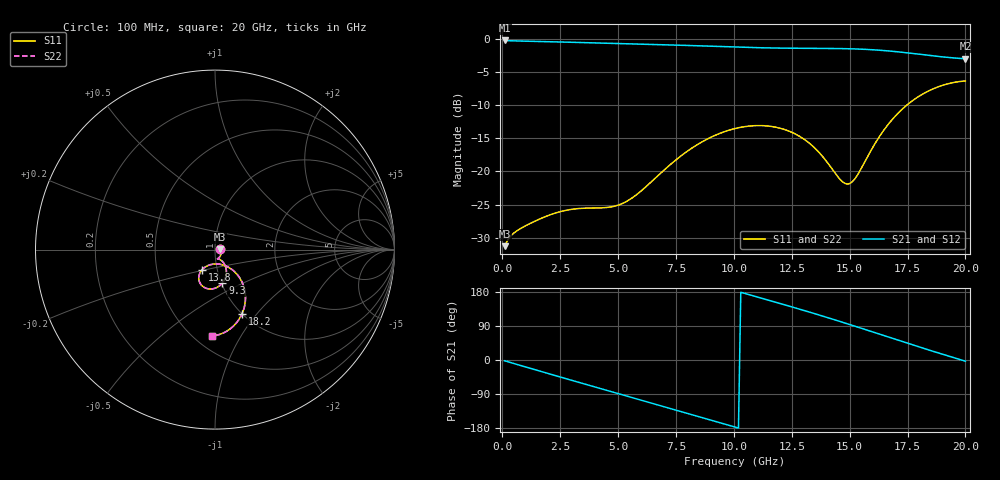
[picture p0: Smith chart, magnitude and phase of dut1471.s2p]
! Touchstone file exported from HFSS 2026.1.0
!  File:  C:/ffzhzh/LocalFiles/Ansys_Project_Files/temp_train_TSV_RDL_1471_1783361782_37376.aedt
!  Generated:  02:29:44 AM Jul  7, 2026
!  Design:  TSV_RDL
!  Project:  temp_train_TSV_RDL_1471_1783361782_37376
! Variables:
!  h_bsmrdl = 3.05um
!  h_ox = 20um
!  h_rdl = 5um
!  h_sub = 72.59um
!  h_tmrdl = 5.77um
!  h_tsv = 72.59um
!  h_via = 3um
!  l_bsmrdl = 633.36um
!  l_sub = 4868.94um
!  l_tmrdl = 612.65um
!  m_sub = 200um
!  pitch = 27.88um
!  r_tsv = 4.13um
!  s_tmrdl = 10um
!  w_bsmrdl = 12.87um
!  w_sub = 500um
!  w_tmrdl = 26.55um
!  x_tsv_center1 = 625.925um
!  x_tsv_center2 = 1272.155um
!  x_tsv_center3 = 1911.355um
!  x_tsv_center4 = 2557.585um
!  x_tsv_center5 = 3196.785um
!  x_tsv_center6 = 3843.015um
# GHz S MA R 50.000000
! Terminal data exported
! Port[1] = TM_RDL1_1_T1
! Port[2] = TM_RDL5_1_T1
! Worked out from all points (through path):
!   200 points, 100 MHz to 20 GHz, reference 50 ohm
!   highest |S21| = -0.24 dB at 100 MHz (marker M1); lowest = -3.0 dB at 20 GHz (marker M2)
!   group delay of S21, straight-line fit = 50 ps
!   lowest |S11| = -31.3 dB at 100 MHz (marker M3), VSWR 1.06, Z = 52.8 + j0.167 ohm
!   |S11| at or under -10 dB: start of sweep to 17.47 GHz
!   |S22| runs from -31.3 to -6.4 dB; largest |S21 - S12| = 4.5e-14
!   S11 on the Smith chart (normalised r, x): 100 MHz: 1.06, +0.00; 9.3 GHz: 1.01, -0.39; 13.8 GHz: 0.85, -0.19; 18.2 GHz: 1.00, -0.84; 20 GHz: 0.61, -0.76
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0.1  0.0273 3.3  0.9728 -2.0  0.9728 -2.0  0.0273 3.3
! Gamma 0 0 0 0
! Port Impedance 50 0 50 0
0.5  0.03429 -7.9  0.9656 -9.3  0.9656 -9.3  0.03428 -7.9
1.7  0.04441 -45.2  0.955 -30.7  0.955 -30.7  0.04437 -45.2
2.6  0.05022 -63.4  0.9466 -46.6  0.9466 -46.6  0.05012 -63.4
3.5  0.05274 -73.6  0.9375 -62.4  0.9375 -62.4  0.05258 -73.7
4.3  0.05313 -74.9  0.9295 -76.4  0.9295 -76.4  0.05291 -74.8
5.1  0.05648 -68.4  0.9218 -90.4  0.9218 -90.4  0.05623 -68.3
5.9  0.06899 -60.1  0.9141 -104.4  0.9141 -104.4  0.06878 -59.9
6.8  0.0956 -57.1  0.9051 -120.1  0.9051 -120.1  0.09546 -56.9
8.1  0.1465 -64.5  0.8907 -142.9  0.8907 -142.9  0.1464 -64.4
9.3  0.1907 -77.5  0.8762 -163.8  0.8762 -163.8  0.1907 -77.4
10.1  0.2116 -87.4  0.8669 -177.7  0.8669 -177.7  0.2116 -87.3
11.7  0.2173 -107.4  0.8533 154.4  0.8533 154.4  0.2173 -107.4
13.4  0.1557 -122.8  0.8483 124.0  0.8483 124.0  0.1555 -122.9
13.8  0.1318 -122.6  0.8476 116.6  0.8476 116.6  0.1315 -122.7
14.6  0.08662 -105.2  0.8449 101.4  0.8449 101.4  0.08598 -105.3
15  0.08098 -82.9  0.8421 93.7  0.8421 93.7  0.0802 -82.8
15.8  0.1315 -51.5  0.8315 77.9  0.8315 77.9  0.131 -51.1
16.7  0.2304 -50.1  0.8104 60.0  0.8104 60.0  0.23 -49.8
18.2  0.3873 -67.1  0.759 30.6  0.759 30.6  0.3871 -66.9
19.1  0.4509 -79.6  0.7287 13.6  0.7287 13.6  0.4508 -79.4
20  0.4812 -92.1  0.7079 -3.1  0.7079 -3.1  0.4811 -91.9
